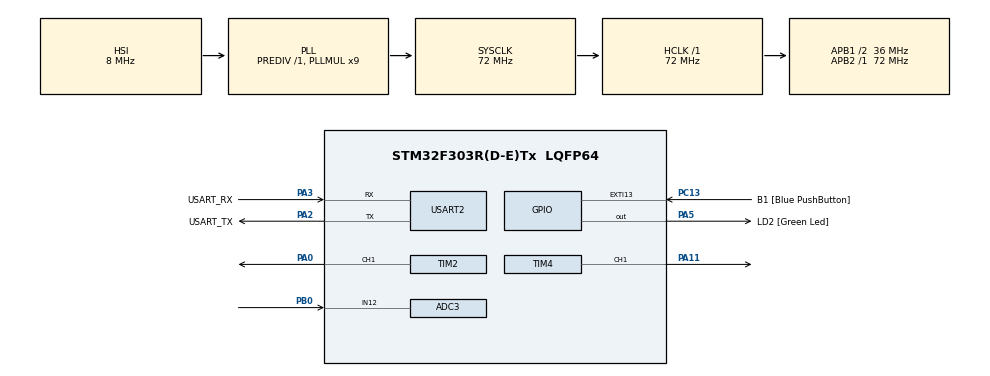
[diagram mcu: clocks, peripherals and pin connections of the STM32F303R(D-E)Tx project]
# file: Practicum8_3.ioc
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ADC3.Channel-0\#ChannelRegularConversion=ADC_CHANNEL_12
ADC3.ContinuousConvMode=ENABLE
ADC3.NbrOfConversionFlag=1
ADC3.Offset-0\#ChannelRegularConversion=0
ADC3.OffsetNumber-0\#ChannelRegularConversion=ADC_OFFSET_NONE
ADC3.Rank-0\#ChannelRegularConversion=1
ADC3.SamplingTime-0\#ChannelRegularConversion=ADC_SAMPLETIME_19CYCLES_5
ADC3.SamplingTimeOPAMP-0\#ChannelRegularConversion=ADC_SAMPLETIME_61CYCLES_5
ADC3.master=1
Mcu.Family=STM32F3
Mcu.Name=STM32F303R(D-E)Tx
Mcu.Package=LQFP64
NVIC.PriorityGroup=NVIC_PRIORITYGROUP_0
NVIC.TIM2_IRQn=true\:0\:0\:false\:false\:true\:true\:true\:true
PA0.Signal=S_TIM2_CH1_ETR
PA11.Signal=S_TIM4_CH1
PA13.GPIO_Label=TMS
PA13.Mode=Serial_Wire
PA13.Signal=SYS_JTMS-SWDIO
PA14.GPIO_Label=TCK
PA14.Mode=Serial_Wire
PA14.Signal=SYS_JTCK-SWCLK
PA2.GPIO_Label=USART_TX
PA2.GPIO_Mode=GPIO_MODE_AF_PP
PA2.GPIO_PuPd=GPIO_NOPULL
PA2.GPIO_Speed=GPIO_SPEED_FREQ_LOW
PA2.Mode=Asynchronous
PA2.Signal=USART2_TX
PA3.GPIO_Label=USART_RX
PA3.GPIO_Mode=GPIO_MODE_AF_PP
PA3.GPIO_PuPd=GPIO_NOPULL
PA3.GPIO_Speed=GPIO_SPEED_FREQ_LOW
PA3.Mode=Asynchronous
PA3.Signal=USART2_RX
PA5.GPIO_Label=LD2 [Green Led]
PA5.GPIO_Mode=GPIO_MODE_OUTPUT_PP
PA5.GPIO_PuPd=GPIO_NOPULL
PA5.GPIO_Speed=GPIO_SPEED_FREQ_LOW
PA5.Signal=GPIO_Output
PB0.Mode=IN12-Single-Ended
PB0.Signal=ADC3_IN12
PB3.GPIO_Label=SWO
PB3.Signal=SYS_JTDO-TRACESWO
PC13.GPIO_Label=B1 [Blue PushButton]
PC13.GPIO_ModeDefaultEXTI=GPIO_MODE_IT_FALLING
PC13.Signal=GPXTI13
PC14-OSC32_IN.Mode=LSE-External-Oscillator
PC14-OSC32_IN.Signal=RCC_OSC32_IN
PC15-OSC32_OUT.Mode=LSE-External-Oscillator
PC15-OSC32_OUT.Signal=RCC_OSC32_OUT
PF0-OSC_IN.Mode=HSE-External-Clock-Source
PF0-OSC_IN.Signal=RCC_OSC_IN
PF1-OSC_OUT.Signal=RCC_OSC_OUT
ProjectManager.HeapSize=0x200
ProjectManager.StackSize=0x400
ProjectManager.TargetToolchain=STM32CubeIDE
RCC.AHBFreq_Value=72000000
RCC.APB1CLKDivider=RCC_HCLK_DIV2
RCC.APB1Freq_Value=36000000
RCC.APB1TimFreq_Value=72000000
RCC.APB2Freq_Value=72000000
RCC.APB2TimFreq_Value=72000000
RCC.CortexFreq_Value=72000000
RCC.HCLKFreq_Value=72000000
RCC.HSE_VALUE=8000000
RCC.HSI_VALUE=8000000
RCC.PLLM=8
RCC.PLLMUL=RCC_PLL_MUL9
RCC.PLLN=336
RCC.PLLP=RCC_PLLP_DIV4
RCC.PLLQ=7
RCC.RCC_PLLsource_Clock_Source_FROM_HSE=RCC_HSE_PREDIV_DIV2
RCC.SYSCLKFreq_VALUE=72000000
RCC.SYSCLKSourceVirtual=RCC_SYSCLKSOURCE_PLLCLK
RCC.USBFreq_Value=72000000
SH.S_TIM2_CH1_ETR.0=TIM2_CH1,PWM Generation1 CH1
SH.S_TIM4_CH1.0=TIM4_CH1,PWM Generation1 CH1
TIM2.Channel-PWM\ Generation1\ CH1=TIM_CHANNEL_1
TIM2.Period=100000-1
TIM2.Prescaler=7199
TIM2.Pulse-PWM\ Generation1\ CH1=80000
TIM4.Channel-PWM\ Generation1\ CH1=TIM_CHANNEL_1
TIM4.Period=999
TIM4.Prescaler=719
USART2.VirtualMode-Asynchronous=VM_ASYNC
VP_TIM2_VS_ClockSourceINT.Mode=Internal
VP_TIM4_VS_ClockSourceINT.Mode=Internal
board=NUCLEO-F303RE

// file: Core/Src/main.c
/* USER CODE BEGIN Header */
/**
  ******************************************************************************
  * @file           : main.c
  * @brief          : Main program body
  ******************************************************************************
  * @attention
  *
  * Copyright (c) 2026 STMicroelectronics.
  * All rights reserved.
  *
  * This software is licensed under terms that can be found in the LICENSE file
  * in the root directory of this software component.
  * If no LICENSE file comes with this software, it is provided AS-IS.
  *
  ******************************************************************************
  */
/* USER CODE END Header */
#include "main.h"

ADC_HandleTypeDef hadc3;

TIM_HandleTypeDef htim2;
TIM_HandleTypeDef htim4;

UART_HandleTypeDef huart2;

void SystemClock_Config(void);
static void MX_GPIO_Init(void);
static void MX_ADC3_Init(void);
static void MX_TIM2_Init(void);
static void MX_TIM4_Init(void);
static void MX_USART2_UART_Init(void);

int main(void)
{

  /* MCU Configuration--------------------------------------------------------*/

  /* Reset of all peripherals, Initializes the Flash interface and the Systick. */
  HAL_Init();

  /* Configure the system clock */
  SystemClock_Config();

  /* Initialize all configured peripherals */
  MX_GPIO_Init();
  MX_ADC3_Init();
  MX_TIM2_Init();
  MX_TIM4_Init();
  MX_USART2_UART_Init();
  /* USER CODE BEGIN 2 */
  HAL_TIM_PWM_Start_IT(&htim2, TIM_CHANNEL_1);
  HAL_TIM_Base_Start_IT(&htim2);              // nodig voor PeriodElapsed
  /* USER CODE END 2 */

  /* Infinite loop */
  /* USER CODE BEGIN WHILE */
  uint32_t adcValue;
  uint32_t ccrValue;
  while (1)
  {
	  HAL_ADC_Start(&hadc3);
	  HAL_ADC_PollForConversion(&hadc3, HAL_MAX_DELAY);
	  adcValue = HAL_ADC_GetValue(&hadc3);
	  HAL_ADC_Stop(&hadc3);

	  ccrValue = (adcValue * (htim4.Init.Period + 1)) / 4095;
	  __HAL_TIM_SET_COMPARE(&htim4, TIM_CHANNEL_1, ccrValue);

	  HAL_Delay(5);
    /* USER CODE END WHILE */

  }
}

void SystemClock_Config(void)
{
  RCC_OscInitTypeDef RCC_OscInitStruct = {0};
  RCC_ClkInitTypeDef RCC_ClkInitStruct = {0};
  RCC_PeriphCLKInitTypeDef PeriphClkInit = {0};

  /** Initializes the RCC Oscillators according to the specified parameters
  * in the RCC_OscInitTypeDef structure.
  */
  RCC_OscInitStruct.OscillatorType = RCC_OSCILLATORTYPE_HSI;
  RCC_OscInitStruct.HSIState = RCC_HSI_ON;
  RCC_OscInitStruct.HSICalibrationValue = RCC_HSICALIBRATION_DEFAULT;
  RCC_OscInitStruct.PLL.PLLState = RCC_PLL_ON;
  RCC_OscInitStruct.PLL.PLLSource = RCC_PLLSOURCE_HSI;
  RCC_OscInitStruct.PLL.PLLMUL = RCC_PLL_MUL9;
  RCC_OscInitStruct.PLL.PREDIV = RCC_PREDIV_DIV1;
  if (HAL_RCC_OscConfig(&RCC_OscInitStruct) != HAL_OK)
  {
    Error_Handler();
  }

  /** Initializes the CPU, AHB and APB buses clocks
  */
  RCC_ClkInitStruct.ClockType = RCC_CLOCKTYPE_HCLK|RCC_CLOCKTYPE_SYSCLK
                              |RCC_CLOCKTYPE_PCLK1|RCC_CLOCKTYPE_PCLK2;
  RCC_ClkInitStruct.SYSCLKSource = RCC_SYSCLKSOURCE_PLLCLK;
  RCC_ClkInitStruct.AHBCLKDivider = RCC_SYSCLK_DIV1;
  RCC_ClkInitStruct.APB1CLKDivider = RCC_HCLK_DIV2;
  RCC_ClkInitStruct.APB2CLKDivider = RCC_HCLK_DIV1;

  if (HAL_RCC_ClockConfig(&RCC_ClkInitStruct, FLASH_LATENCY_2) != HAL_OK)
  {
    Error_Handler();
  }
  PeriphClkInit.PeriphClockSelection = RCC_PERIPHCLK_USART2|RCC_PERIPHCLK_ADC34
                              |RCC_PERIPHCLK_TIM2|RCC_PERIPHCLK_TIM34;
  PeriphClkInit.Usart2ClockSelection = RCC_USART2CLKSOURCE_PCLK1;
  PeriphClkInit.Adc34ClockSelection = RCC_ADC34PLLCLK_DIV1;
  PeriphClkInit.Tim2ClockSelection = RCC_TIM2CLK_HCLK;
  PeriphClkInit.Tim34ClockSelection = RCC_TIM34CLK_HCLK;
  if (HAL_RCCEx_PeriphCLKConfig(&PeriphClkInit) != HAL_OK)
  {
    Error_Handler();
  }
}

static void MX_ADC3_Init(void)
{

  ADC_MultiModeTypeDef multimode = {0};
  ADC_ChannelConfTypeDef sConfig = {0};

  /** Common config
  */
  hadc3.Instance = ADC3;
  hadc3.Init.ClockPrescaler = ADC_CLOCK_ASYNC_DIV1;
  hadc3.Init.Resolution = ADC_RESOLUTION_12B;
  hadc3.Init.ScanConvMode = ADC_SCAN_DISABLE;
  hadc3.Init.ContinuousConvMode = ENABLE;
  hadc3.Init.DiscontinuousConvMode = DISABLE;
  hadc3.Init.ExternalTrigConvEdge = ADC_EXTERNALTRIGCONVEDGE_NONE;
  hadc3.Init.ExternalTrigConv = ADC_SOFTWARE_START;
  hadc3.Init.DataAlign = ADC_DATAALIGN_RIGHT;
  hadc3.Init.NbrOfConversion = 1;
  hadc3.Init.DMAContinuousRequests = DISABLE;
  hadc3.Init.EOCSelection = ADC_EOC_SINGLE_CONV;
  hadc3.Init.LowPowerAutoWait = DISABLE;
  hadc3.Init.Overrun = ADC_OVR_DATA_OVERWRITTEN;
  if (HAL_ADC_Init(&hadc3) != HAL_OK)
  {
    Error_Handler();
  }

  /** Configure the ADC multi-mode
  */
  multimode.Mode = ADC_MODE_INDEPENDENT;
  if (HAL_ADCEx_MultiModeConfigChannel(&hadc3, &multimode) != HAL_OK)
  {
    Error_Handler();
  }

  /** Configure Regular Channel
  */
  sConfig.Channel = ADC_CHANNEL_12;
  sConfig.Rank = ADC_REGULAR_RANK_1;
  sConfig.SingleDiff = ADC_SINGLE_ENDED;
  sConfig.SamplingTime = ADC_SAMPLETIME_19CYCLES_5;
  sConfig.OffsetNumber = ADC_OFFSET_NONE;
  sConfig.Offset = 0;
  if (HAL_ADC_ConfigChannel(&hadc3, &sConfig) != HAL_OK)
  {
    Error_Handler();
  }

}

static void MX_TIM2_Init(void)
{

  TIM_ClockConfigTypeDef sClockSourceConfig = {0};
  TIM_MasterConfigTypeDef sMasterConfig = {0};
  TIM_OC_InitTypeDef sConfigOC = {0};

  htim2.Instance = TIM2;
  htim2.Init.Prescaler = 7199;
  htim2.Init.CounterMode = TIM_COUNTERMODE_UP;
  htim2.Init.Period = 100000-1;
  htim2.Init.ClockDivision = TIM_CLOCKDIVISION_DIV1;
  htim2.Init.AutoReloadPreload = TIM_AUTORELOAD_PRELOAD_DISABLE;
  if (HAL_TIM_Base_Init(&htim2) != HAL_OK)
  {
    Error_Handler();
  }
  sClockSourceConfig.ClockSource = TIM_CLOCKSOURCE_INTERNAL;
  if (HAL_TIM_ConfigClockSource(&htim2, &sClockSourceConfig) != HAL_OK)
  {
    Error_Handler();
  }
  if (HAL_TIM_PWM_Init(&htim2) != HAL_OK)
  {
    Error_Handler();
  }
  sMasterConfig.MasterOutputTrigger = TIM_TRGO_RESET;
  sMasterConfig.MasterSlaveMode = TIM_MASTERSLAVEMODE_DISABLE;
  if (HAL_TIMEx_MasterConfigSynchronization(&htim2, &sMasterConfig) != HAL_OK)
  {
    Error_Handler();
  }
  sConfigOC.OCMode = TIM_OCMODE_PWM1;
  sConfigOC.Pulse = 80000;
  sConfigOC.OCPolarity = TIM_OCPOLARITY_HIGH;
  sConfigOC.OCFastMode = TIM_OCFAST_DISABLE;
  if (HAL_TIM_PWM_ConfigChannel(&htim2, &sConfigOC, TIM_CHANNEL_1) != HAL_OK)
  {
    Error_Handler();
  }
  HAL_TIM_MspPostInit(&htim2);

}

static void MX_TIM4_Init(void)
{

  TIM_ClockConfigTypeDef sClockSourceConfig = {0};
  TIM_MasterConfigTypeDef sMasterConfig = {0};
  TIM_OC_InitTypeDef sConfigOC = {0};

  htim4.Instance = TIM4;
  htim4.Init.Prescaler = 719;
  htim4.Init.CounterMode = TIM_COUNTERMODE_UP;
  htim4.Init.Period = 999;
  htim4.Init.ClockDivision = TIM_CLOCKDIVISION_DIV1;
  htim4.Init.AutoReloadPreload = TIM_AUTORELOAD_PRELOAD_DISABLE;
  if (HAL_TIM_Base_Init(&htim4) != HAL_OK)
  {
    Error_Handler();
  }
  sClockSourceConfig.ClockSource = TIM_CLOCKSOURCE_INTERNAL;
  if (HAL_TIM_ConfigClockSource(&htim4, &sClockSourceConfig) != HAL_OK)
  {
    Error_Handler();
  }
  if (HAL_TIM_PWM_Init(&htim4) != HAL_OK)
  {
    Error_Handler();
  }
  sMasterConfig.MasterOutputTrigger = TIM_TRGO_RESET;
  sMasterConfig.MasterSlaveMode = TIM_MASTERSLAVEMODE_DISABLE;
  if (HAL_TIMEx_MasterConfigSynchronization(&htim4, &sMasterConfig) != HAL_OK)
  {
    Error_Handler();
  }
  sConfigOC.OCMode = TIM_OCMODE_PWM1;
  sConfigOC.Pulse = 0;
  sConfigOC.OCPolarity = TIM_OCPOLARITY_HIGH;
  sConfigOC.OCFastMode = TIM_OCFAST_DISABLE;
  if (HAL_TIM_PWM_ConfigChannel(&htim4, &sConfigOC, TIM_CHANNEL_1) != HAL_OK)
  {
    Error_Handler();
  }
  HAL_TIM_MspPostInit(&htim4);

}

static void MX_USART2_UART_Init(void)
{

  huart2.Instance = USART2;
  huart2.Init.BaudRate = 38400;
  huart2.Init.WordLength = UART_WORDLENGTH_8B;
  huart2.Init.StopBits = UART_STOPBITS_1;
  huart2.Init.Parity = UART_PARITY_NONE;
  huart2.Init.Mode = UART_MODE_TX_RX;
  huart2.Init.HwFlowCtl = UART_HWCONTROL_NONE;
  huart2.Init.OverSampling = UART_OVERSAMPLING_16;
  huart2.Init.OneBitSampling = UART_ONE_BIT_SAMPLE_DISABLE;
  huart2.AdvancedInit.AdvFeatureInit = UART_ADVFEATURE_NO_INIT;
  if (HAL_UART_Init(&huart2) != HAL_OK)
  {
    Error_Handler();
  }

}

static void MX_GPIO_Init(void)
{
  GPIO_InitTypeDef GPIO_InitStruct = {0};

  /* GPIO Ports Clock Enable */
  __HAL_RCC_GPIOC_CLK_ENABLE();
  __HAL_RCC_GPIOF_CLK_ENABLE();
  __HAL_RCC_GPIOA_CLK_ENABLE();
  __HAL_RCC_GPIOB_CLK_ENABLE();

  /*Configure GPIO pin Output Level */
  HAL_GPIO_WritePin(LD2_GPIO_Port, LD2_Pin, GPIO_PIN_RESET);

  /*Configure GPIO pin : B1_Pin */
  GPIO_InitStruct.Pin = B1_Pin;
  GPIO_InitStruct.Mode = GPIO_MODE_IT_FALLING;
  GPIO_InitStruct.Pull = GPIO_NOPULL;
  HAL_GPIO_Init(B1_GPIO_Port, &GPIO_InitStruct);

  /*Configure GPIO pin : LD2_Pin */
  GPIO_InitStruct.Pin = LD2_Pin;
  GPIO_InitStruct.Mode = GPIO_MODE_OUTPUT_PP;
  GPIO_InitStruct.Pull = GPIO_NOPULL;
  GPIO_InitStruct.Speed = GPIO_SPEED_FREQ_LOW;
  HAL_GPIO_Init(LD2_GPIO_Port, &GPIO_InitStruct);

}

/* USER CODE BEGIN 4 */
void HAL_TIM_PWM_PulseFinishedCallback (TIM_HandleTypeDef *htim) //Automatisch aangeroepen wanneer PWM-pulse is afgelopen
{
    if (htim == &htim2) //controleert of het &tim2 is
    {
    	HAL_TIM_PWM_Stop(&htim4, TIM_CHANNEL_1); //Stopt de rode led
    }
}

void HAL_TIM_PeriodElapsedCallback(TIM_HandleTypeDef *htim) //Automatisch aangeroepen wanneer ARR bereikt (1 timer periode afgelopen)
{
    if (htim == &htim2) {
    	HAL_TIM_PWM_Start(&htim4, TIM_CHANNEL_1); //Start rode led
    }
}
/* USER CODE END 4 */

void Error_Handler(void)
{
  __disable_irq();
  while (1)
  {
  }
}
